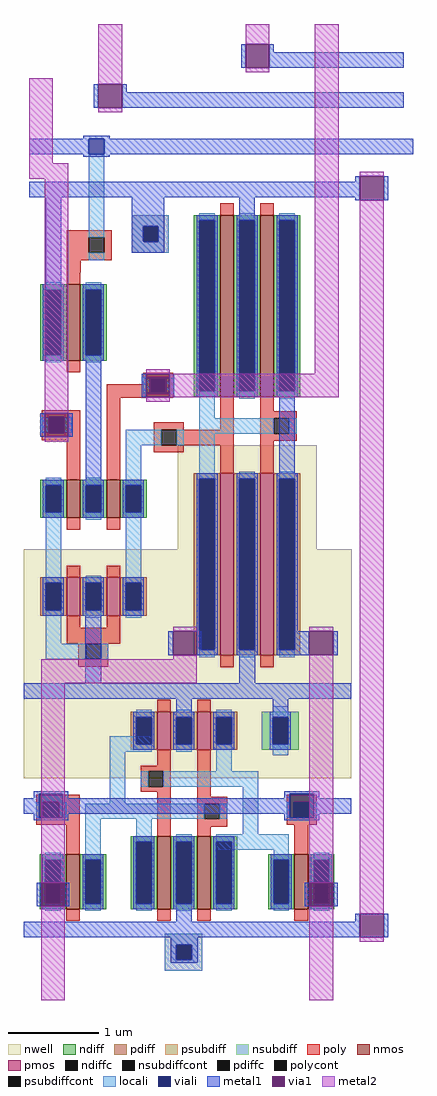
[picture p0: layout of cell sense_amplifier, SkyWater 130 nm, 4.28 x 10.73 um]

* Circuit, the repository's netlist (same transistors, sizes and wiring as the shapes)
* SPICE3 file created from sense_amplifier.ext - technology: sky130A

X0 bit_cell_0/a_381_381# bit_cell_0/WL bit_cell_0/BL m9/VSUBS sky130_fd_pr__nfet_01v8 ad=0.174 pd=1.78 as=0.174 ps=1.78 w=0.6 l=0.15
X1 bit_cell_0/a_381_381# bit_cell_0/a_257_458# bit_cell_0/VDD bit_cell_0/VDD sky130_fd_pr__pfet_01v8 ad=0.1218 pd=1.42 as=0.1218 ps=1.42 w=0.42 l=0.15
X2 bit_cell_0/a_257_458# bit_cell_0/a_381_381# bit_cell_0/VDD bit_cell_0/VDD sky130_fd_pr__pfet_01v8 ad=0.1218 pd=1.42 as=0.82365 ps=7.43 w=0.42 l=0.15
X3 bit_cell_0/a_381_381# bit_cell_0/a_257_458# m9/VSUBS m9/VSUBS sky130_fd_pr__nfet_01v8 ad=0.232 pd=2.18 as=0.232 ps=2.18 w=0.8 l=0.15
X4 bit_cell_0/a_257_458# bit_cell_0/a_381_381# m9/VSUBS m9/VSUBS sky130_fd_pr__nfet_01v8 ad=0.406 pd=3.96 as=1.05565 ps=9.03 w=0.8 l=0.15
X5 bit_cell_0/BL_ bit_cell_0/WL bit_cell_0/a_257_458# m9/VSUBS sky130_fd_pr__nfet_01v8 ad=0.754 pd=6.36 as=0 ps=0 w=0.6 l=0.15
X6 a_94_n338# a_39_110# m1_136_23# m9/VSUBS sky130_fd_pr__nfet_01v8 ad=0.1218 pd=1.42 as=0.1218 ps=1.42 w=0.42 l=0.15
X7 a_286_83# a_182_49# m1_136_23# m9/VSUBS sky130_fd_pr__nfet_01v8 ad=0.1218 pd=1.42 as=0.365425 ps=3.685 w=0.42 l=0.15
X8 a_94_n338# a_94_n338# bit_cell_0/VDD bit_cell_0/VDD sky130_fd_pr__pfet_01v8 ad=0.1218 pd=1.42 as=0.1218 ps=1.42 w=0.42 l=0.15
X9 a_286_83# a_94_n338# bit_cell_0/VDD bit_cell_0/VDD sky130_fd_pr__pfet_01v8 ad=0.1218 pd=1.42 as=0 ps=0 w=0.42 l=0.15
X10 bit_cell_0/BL a_286_83# bit_cell_0/VDD bit_cell_0/VDD sky130_fd_pr__pfet_01v8 ad=0.58 pd=4.58 as=0.58 ps=4.58 w=2 l=0.15
X11 bit_cell_0/BL a_286_83# m9/VSUBS m9/VSUBS sky130_fd_pr__nfet_01v8 ad=0.58 pd=4.58 as=0.58 ps=4.58 w=2 l=0.15
X12 bit_cell_0/BL_ bit_cell_0/BL bit_cell_0/VDD bit_cell_0/VDD sky130_fd_pr__pfet_01v8 ad=0.58 pd=4.58 as=0 ps=0 w=2 l=0.15
X13 m1_136_23# a_94_479# m9/VSUBS m9/VSUBS sky130_fd_pr__nfet_01v8 ad=0.2436 pd=2.26 as=0.2436 ps=2.26 w=0.84 l=0.15
X14 bit_cell_0/BL_ bit_cell_0/BL m9/VSUBS m9/VSUBS sky130_fd_pr__nfet_01v8 ad=0 pd=0 as=0 ps=0 w=2 l=0.15

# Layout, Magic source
magic
tech sky130A
magscale 1 2
<< nwell >>
rect 306 -338 339 -130
rect 0 -425 339 -338
rect 643 -425 721 -130
<< psubdiff >>
rect 237 580 319 604
rect 237 546 262 580
rect 296 546 319 580
rect 237 522 319 546
<< psubdiffcont >>
rect 262 546 296 580
<< poly >>
rect 94 556 193 572
rect 94 522 143 556
rect 177 522 193 556
rect 94 506 193 522
rect 94 479 125 506
rect 262 247 328 258
rect 262 233 278 247
rect 182 213 278 233
rect 312 213 328 247
rect 182 203 328 213
rect 39 160 124 176
rect 39 126 55 160
rect 89 126 124 160
rect 39 110 124 126
rect 94 49 124 110
rect 182 49 212 203
rect 286 133 352 149
rect 432 133 462 179
rect 286 99 302 133
rect 336 99 462 133
rect 286 83 352 99
rect 432 63 462 99
rect 520 174 550 179
rect 520 158 600 174
rect 520 124 550 158
rect 584 124 600 158
rect 520 109 600 124
rect 520 63 550 109
rect 94 -338 212 -302
rect 120 -372 136 -338
rect 170 -372 186 -338
rect 120 -388 186 -372
<< polycont >>
rect 143 522 177 556
rect 278 213 312 247
rect 55 126 89 160
rect 302 99 336 133
rect 550 124 584 158
rect 136 -372 170 -338
<< locali >>
rect 143 556 177 739
rect 237 580 319 604
rect 237 546 262 580
rect 296 546 319 580
rect 237 522 319 546
rect 143 506 177 522
rect 262 213 278 247
rect 312 213 328 247
rect 39 126 55 160
rect 89 126 105 160
rect 386 158 420 201
rect 224 99 302 133
rect 336 99 352 133
rect 386 124 550 158
rect 584 124 600 158
rect 224 27 258 99
rect 386 41 420 124
rect 48 -188 82 -65
rect 224 -188 258 -65
rect 48 -338 82 -280
rect 48 -372 136 -338
rect 170 -372 186 -338
<< viali >>
rect 143 739 177 773
rect 262 546 296 580
rect 278 213 312 247
rect 55 126 89 160
<< metal1 >>
rect 478 929 488 981
rect 540 963 550 981
rect 540 929 835 963
rect 154 841 164 893
rect 216 875 226 893
rect 216 841 835 875
rect 131 773 189 779
rect 12 739 143 773
rect 177 739 856 773
rect 131 733 189 739
rect 729 678 739 690
rect 12 644 739 678
rect 48 453 82 644
rect 237 580 309 644
rect 474 605 508 644
rect 729 638 739 644
rect 791 638 801 690
rect 237 546 262 580
rect 296 546 309 580
rect 237 522 309 546
rect 36 117 46 169
rect 98 117 108 169
rect 136 23 170 285
rect 259 204 269 256
rect 321 204 331 256
rect 562 37 596 205
rect 135 -459 170 -276
rect 318 -363 328 -310
rect 380 -363 390 -310
rect 602 -362 628 -310
rect 680 -362 690 -310
rect 602 -363 690 -362
rect 474 -459 509 -363
rect 729 -949 739 -931
rect 720 -983 739 -949
rect 791 -983 801 -931
<< via1 >>
rect 488 929 540 981
rect 164 841 216 893
rect 739 638 791 690
rect 46 160 98 169
rect 46 126 55 160
rect 55 126 89 160
rect 89 126 98 160
rect 46 117 98 126
rect 269 247 321 256
rect 269 213 278 247
rect 278 213 312 247
rect 312 213 321 247
rect 269 204 321 213
rect 328 -363 380 -310
rect 628 -362 680 -310
rect 739 -983 791 -931
<< metal2 >>
rect 12 719 64 906
rect 164 893 216 1025
rect 488 981 540 1025
rect 488 919 540 929
rect 164 831 216 841
rect 12 685 98 719
rect 46 169 98 685
rect 269 256 321 266
rect 640 256 692 1025
rect 321 204 692 256
rect 739 690 791 700
rect 269 194 321 204
rect 46 107 98 117
rect 328 -310 380 -300
rect 328 -372 380 -363
rect 38 -425 380 -372
rect 628 -310 680 -300
rect 628 -425 680 -362
rect 739 -931 791 638
rect 739 -993 791 -983
use bit_cell  bit_cell_0 ~/Desktop/FabRAM/FE/sram130/bit_cell
transform 1 0 0 0 1 -1121
box 0 0 720 696
use sky130_fd_pr__nfet_01v8_A6LSUL  m1
transform -1 0 109 0 1 -19
box -73 -68 73 68
use sky130_fd_pr__nfet_01v8_A6LSUL  m2
transform 1 0 197 0 1 -19
box -73 -68 73 68
use sky130_fd_pr__pfet_01v8_4Y88KP#0  m3
transform -1 0 109 0 1 -234
box -109 -104 109 104
use sky130_fd_pr__pfet_01v8_4Y88KP#0  m4
transform 1 0 197 0 1 -234
box -109 -104 109 104
use sky130_fd_pr__pfet_01v8_5YUHNA  m5
transform -1 0 447 0 1 -163
box -109 -262 109 262
use sky130_fd_pr__nfet_01v8_JB3UY8  m6
transform -1 0 447 0 1 405
box -73 -226 73 226
use sky130_fd_pr__pfet_01v8_5YUHNA  m7
transform 1 0 535 0 1 -163
box -109 -262 109 262
use sky130_fd_pr__nfet_01v8_JB3UY8  m8
transform 1 0 535 0 1 405
box -73 -226 73 226
use sky130_fd_pr__nfet_01v8_VJ5ZNR  m9
transform 1 0 109 0 1 369
box -73 -110 73 110
<< end >>

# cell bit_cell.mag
magic
tech sky130A
magscale 1 2
<< nwell >>
rect 0 488 199 696
rect 505 488 720 696
<< psubdiff >>
rect 310 122 392 146
rect 310 88 335 122
rect 369 88 392 122
rect 310 64 392 88
<< nsubdiff >>
rect 523 622 605 634
rect 523 562 547 622
rect 581 562 605 622
rect 523 550 605 562
<< psubdiffcont >>
rect 335 88 369 122
<< nsubdiffcont >>
rect 547 562 581 622
<< poly >>
rect 293 515 323 524
rect 257 503 323 515
rect 257 469 273 503
rect 307 469 323 503
rect 257 458 323 469
rect 27 435 123 451
rect 27 401 43 435
rect 77 401 123 435
rect 27 385 123 401
rect 293 386 323 458
rect 381 447 411 524
rect 381 432 447 447
rect 381 398 397 432
rect 431 398 447 432
rect 93 346 123 385
rect 381 381 447 398
rect 578 435 644 451
rect 578 401 594 435
rect 628 401 644 435
rect 578 385 644 401
rect 595 346 625 385
<< polycont >>
rect 273 469 307 503
rect 43 401 77 435
rect 397 398 431 432
rect 594 401 628 435
<< locali >>
rect 547 622 581 646
rect 189 546 281 580
rect 27 401 34 435
rect 86 401 93 435
rect 189 432 223 546
rect 423 503 457 547
rect 547 538 581 562
rect 257 469 273 503
rect 307 469 515 503
rect 135 398 397 432
rect 431 398 447 432
rect 135 324 169 398
rect 247 364 281 398
rect 481 364 515 469
rect 578 401 585 435
rect 637 401 644 435
rect 423 330 583 364
rect 549 324 583 330
rect 310 122 392 146
rect 310 88 335 122
rect 369 88 392 122
rect 310 64 392 88
<< viali >>
rect 547 562 581 622
rect 34 435 86 453
rect 34 401 43 435
rect 43 401 77 435
rect 77 401 86 435
rect 585 435 637 453
rect 585 401 594 435
rect 594 401 628 435
rect 628 401 637 435
rect 335 88 369 122
<< metal1 >>
rect 0 662 720 696
rect 335 634 369 662
rect 547 634 581 662
rect 541 622 587 634
rect 541 562 547 622
rect 581 562 587 622
rect 541 550 587 562
rect 22 453 98 459
rect 22 444 34 453
rect 0 410 34 444
rect 22 401 34 410
rect 86 444 98 453
rect 573 453 649 459
rect 573 444 585 453
rect 86 410 585 444
rect 86 401 98 410
rect 22 395 98 401
rect 573 401 585 410
rect 637 444 649 453
rect 637 410 720 444
rect 637 401 649 410
rect 573 395 649 401
rect 28 206 38 258
rect 90 206 100 258
rect 618 206 628 258
rect 680 206 690 258
rect 335 172 369 200
rect 0 138 720 172
rect 323 122 382 138
rect 323 88 335 122
rect 369 88 382 122
rect 323 83 382 88
rect 323 82 381 83
<< via1 >>
rect 38 206 90 258
rect 628 206 680 258
<< metal2 >>
rect 38 258 90 696
rect 38 0 90 206
rect 628 258 680 696
rect 628 0 680 206
use sky130_fd_pr__pfet_01v8_4Y88KP  m1
transform -1 0 308 0 1 592
box -109 -104 109 104
use sky130_fd_pr__pfet_01v8_4Y88KP  m2
transform 1 0 396 0 1 592
box -109 -104 109 104
use sky130_fd_pr__nfet_01v8_BBXUYH  m3
transform -1 0 308 0 1 280
box -73 -106 73 106
use sky130_fd_pr__nfet_01v8_BBXUYH  m4
transform 1 0 396 0 1 280
box -73 -106 73 106
use sky130_fd_pr__nfet_01v8_FB3UY2  m6
transform 1 0 610 0 1 260
box -73 -86 73 86
use sky130_fd_pr__nfet_01v8_FB3UY2  sky130_fd_pr__nfet_01v8_FB3UY2_0
transform 1 0 108 0 1 260
box -73 -86 73 86
<< labels >>
rlabel metal2 628 0 680 47 0 BL_
rlabel metal1 0 138 38 172 0 VSS
rlabel metal1 0 410 22 444 0 WL
rlabel metal1 0 662 38 696 0 VDD
rlabel metal2 38 0 90 47 0 BL
<< end >>

# cell sky130_fd_pr__nfet_01v8_A6LSUL: kit device sky130_fd_pr__nfet_01v8, w 0.420 l 0.150 m 1 nf 1 diffcov 100 polycov 100 guard 0 glc 0 grc 0 gtc 0 gbc 0 tbcov 100 rlcov 100 topc 0 botc 0 poverlap 0 doverlap 0 lmin 0.15 wmin 0.42 compatible {sky130_fd_pr__nfet_01v8 sky130_fd_pr__nfet_01v8_lvt sky130_fd_bs_flash__special_sonosfet_star sky130_fd_pr__nfet_g5v0d10v5 sky130_fd_pr__nfet_05v0_nvt sky130_fd_pr__nfet_03v3_nvt} full_metal 0 viasrc 100 viadrn 100 viagate 100 viagb 0 viagr 0 viagl 0 viagt 0

# cell sky130_fd_pr__pfet_01v8_4Y88KP#0: kit device sky130_fd_pr__pfet_01v8, w 0.42 l 0.15 m 1 nf 1 diffcov 100 polycov 100 guard 0 glc 0 grc 0 gtc 0 gbc 0 tbcov 100 rlcov 100 topc 0 botc 0 poverlap 0 doverlap 0 lmin 0.15 wmin 0.42 compatible {sky130_fd_pr__pfet_01v8 sky130_fd_pr__pfet_01v8_lvt sky130_fd_pr__pfet_01v8_hvt sky130_fd_pr__pfet_g5v0d10v5} full_metal 0 viasrc 100 viadrn 100 viagate 100 viagb 0 viagr 0 viagl 0 viagt 0

# cell sky130_fd_pr__pfet_01v8_5YUHNA: kit device sky130_fd_pr__pfet_01v8, w 2 l 0.15 m 1 nf 1 diffcov 100 polycov 100 guard 0 glc 0 grc 0 gtc 0 gbc 0 tbcov 100 rlcov 100 topc 0 botc 0 poverlap 0 doverlap 0 lmin 0.15 wmin 0.42 compatible {sky130_fd_pr__pfet_01v8 sky130_fd_pr__pfet_01v8_lvt sky130_fd_pr__pfet_01v8_hvt sky130_fd_pr__pfet_g5v0d10v5} full_metal 0 viasrc 100 viadrn 100 viagate 100 viagb 0 viagr 0 viagl 0 viagt 0

# cell sky130_fd_pr__nfet_01v8_JB3UY8: kit device sky130_fd_pr__nfet_01v8, w 2 l 0.150 m 1 nf 1 diffcov 100 polycov 100 guard 0 glc 0 grc 0 gtc 0 gbc 0 tbcov 100 rlcov 100 topc 0 botc 0 poverlap 0 doverlap 0 lmin 0.15 wmin 0.42 compatible {sky130_fd_pr__nfet_01v8 sky130_fd_pr__nfet_01v8_lvt sky130_fd_bs_flash__special_sonosfet_star sky130_fd_pr__nfet_g5v0d10v5 sky130_fd_pr__nfet_05v0_nvt sky130_fd_pr__nfet_03v3_nvt} full_metal 0 viasrc 100 viadrn 100 viagate 100 viagb 0 viagr 0 viagl 0 viagt 0

# cell sky130_fd_pr__nfet_01v8_VJ5ZNR: kit device sky130_fd_pr__nfet_01v8, w 0.84 l 0.150 m 1 nf 1 diffcov 100 polycov 100 guard 0 glc 0 grc 0 gtc 0 gbc 0 tbcov 100 rlcov 100 topc 0 botc 0 poverlap 0 doverlap 0 lmin 0.15 wmin 0.42 compatible {sky130_fd_pr__nfet_01v8 sky130_fd_pr__nfet_01v8_lvt sky130_fd_bs_flash__special_sonosfet_star sky130_fd_pr__nfet_g5v0d10v5 sky130_fd_pr__nfet_05v0_nvt sky130_fd_pr__nfet_03v3_nvt} full_metal 0 viasrc 100 viadrn 100 viagate 100 viagb 0 viagr 0 viagl 0 viagt 0

# cell sky130_fd_pr__pfet_01v8_4Y88KP: kit device sky130_fd_pr__pfet_01v8, w 0.42 l 0.15 m 1 nf 1 diffcov 100 polycov 100 guard 0 glc 0 grc 0 gtc 0 gbc 0 tbcov 100 rlcov 100 topc 0 botc 0 poverlap 0 doverlap 0 lmin 0.15 wmin 0.42 compatible {sky130_fd_pr__pfet_01v8 sky130_fd_pr__pfet_01v8_lvt sky130_fd_pr__pfet_01v8_hvt sky130_fd_pr__pfet_g5v0d10v5} full_metal 0 viasrc 100 viadrn 100 viagate 100 viagb 0 viagr 0 viagl 0 viagt 0

# cell sky130_fd_pr__nfet_01v8_BBXUYH: kit device sky130_fd_pr__nfet_01v8, w 0.8 l 0.150 m 1 nf 1 diffcov 100 polycov 100 guard 0 glc 0 grc 0 gtc 0 gbc 0 tbcov 100 rlcov 100 topc 0 botc 0 poverlap 0 doverlap 0 lmin 0.15 wmin 0.42 compatible {sky130_fd_pr__nfet_01v8 sky130_fd_pr__nfet_01v8_lvt sky130_fd_bs_flash__special_sonosfet_star sky130_fd_pr__nfet_g5v0d10v5 sky130_fd_pr__nfet_05v0_nvt sky130_fd_pr__nfet_03v3_nvt} full_metal 0 viasrc 100 viadrn 100 viagate 100 viagb 0 viagr 0 viagl 0 viagt 0

# cell sky130_fd_pr__nfet_01v8_FB3UY2: kit device sky130_fd_pr__nfet_01v8, w 0.6 l 0.150 m 1 nf 1 diffcov 100 polycov 100 guard 0 glc 0 grc 0 gtc 0 gbc 0 tbcov 100 rlcov 100 topc 0 botc 0 poverlap 0 doverlap 0 lmin 0.15 wmin 0.42 compatible {sky130_fd_pr__nfet_01v8 sky130_fd_pr__nfet_01v8_lvt sky130_fd_bs_flash__special_sonosfet_star sky130_fd_pr__nfet_g5v0d10v5 sky130_fd_pr__nfet_05v0_nvt sky130_fd_pr__nfet_03v3_nvt} full_metal 0 viasrc 100 viadrn 100 viagate 100 viagb 0 viagr 0 viagl 0 viagt 0
